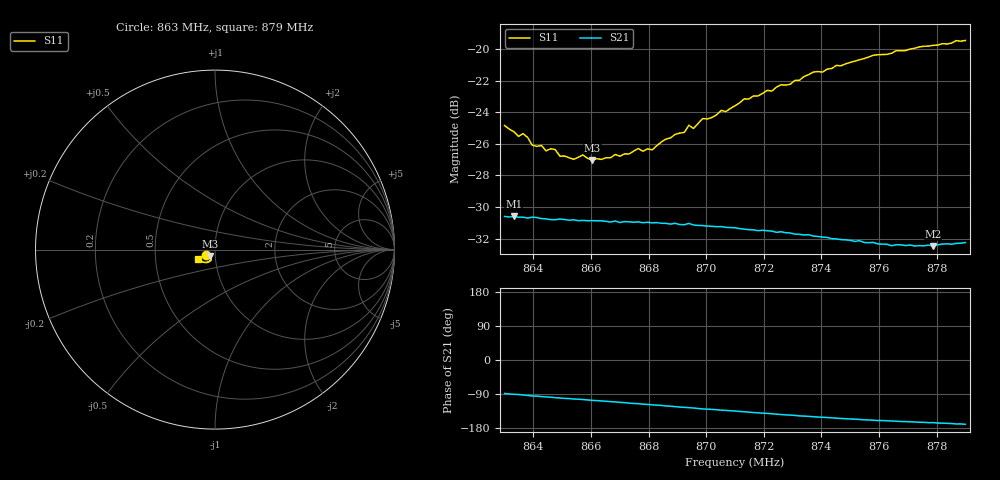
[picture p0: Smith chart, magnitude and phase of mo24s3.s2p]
# HZ S RI R 50
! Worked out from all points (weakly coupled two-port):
!   101 points, 863 MHz to 879 MHz, reference 50 ohm
!   highest |S21| = -30.59 dB at 863.32 MHz (marker M1); lowest = -32.5 dB at 877.88 MHz (marker M2)
!   lowest |S11| = -27.0 dB at 866.04 MHz (marker M3), VSWR 1.09, Z = 47.2 - j3.35 ohm
!   |S11| at or under -10 dB: start of sweep to end of sweep
!   S12 and S22 are empty: the file has one direction only
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8.63e8  -0.0474 -0.0322  0.000892 -0.0295  0 0  0 0
8.6332e8  -0.0453 -0.0308  -0.000175 -0.0295  0 0  0 0
8.6348e8  -0.0433 -0.0304  -0.000538 -0.0293  0 0  0 0
8.6364e8  -0.0439 -0.0314  -0.00117 -0.0294  0 0  0 0
8.6396e8  -0.0394 -0.0302  -0.00259 -0.0293  0 0  0 0
8.6476e8  -0.0364 -0.0314  -0.00473 -0.0284  0 0  0 0
8.6492e8  -0.0332 -0.0315  -0.00515 -0.0285  0 0  0 0
8.654e8  -0.0309 -0.0324  -0.00646 -0.0281  0 0  0 0
8.6572e8  -0.0304 -0.0348  -0.00708 -0.0278  0 0  0 0
8.6604e8  -0.0271 -0.0354  -0.00814 -0.0275  0 0  0 0
8.6764e8  -0.024 -0.0421  -0.0121 -0.0257  0 0  0 0
8.6812e8  -0.0207 -0.0433  -0.0134 -0.0248  0 0  0 0
8.6844e8  -0.0214 -0.046  -0.014 -0.0244  0 0  0 0
8.6924e8  -0.0212 -0.0502  -0.0159 -0.0228  0 0  0 0
8.694e8  -0.0235 -0.0524  -0.0164 -0.0228  0 0  0 0
8.6956e8  -0.0222 -0.0514  -0.0166 -0.0222  0 0  0 0
8.6988e8  -0.0221 -0.0561  -0.0174 -0.0214  0 0  0 0
8.71e8  -0.0267 -0.0605  -0.0191 -0.0194  0 0  0 0
8.7372e8  -0.044 -0.0722  -0.0221 -0.0129  0 0  0 0
8.7644e8  -0.0696 -0.0677  -0.0225 -0.00776  0 0  0 0
8.7788e8  -0.0833 -0.0602  -0.023 -0.00611  0 0  0 0
8.79e8  -0.0931 -0.0518  -0.024 -0.00439  0 0  0 0
